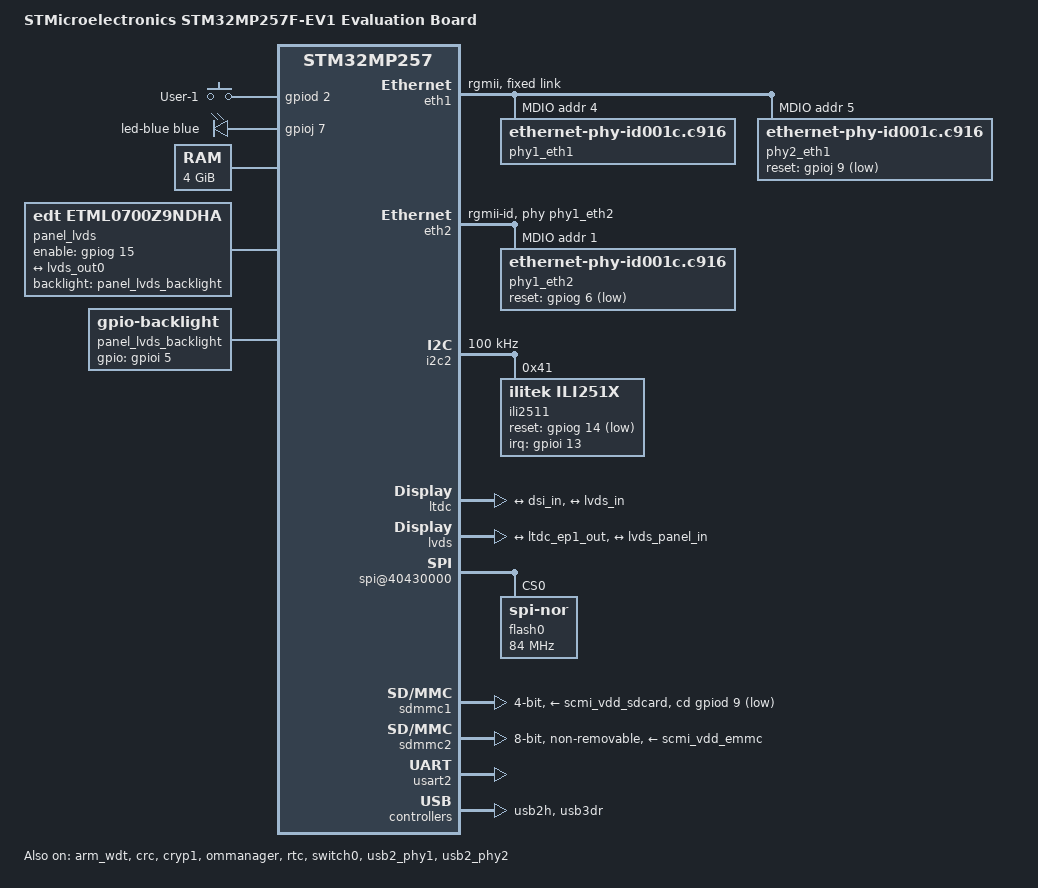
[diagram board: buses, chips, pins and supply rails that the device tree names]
// SPDX-License-Identifier: (GPL-2.0-or-later OR BSD-3-Clause)
/*
 * Copyright (C) STMicroelectronics 2023 - All Rights Reserved
 * Author: Alexandre Torgue <alexandre.torgue@foss.st.com> for STMicroelectronics.
 */

/dts-v1/;

#include <dt-bindings/gpio/gpio.h>
#include <dt-bindings/input/input.h>
#include <dt-bindings/leds/common.h>
#include <dt-bindings/regulator/st,stm32mp25-regulator.h>
#include "stm32mp257.dtsi"
#include "stm32mp25xf.dtsi"
#include "stm32mp25-pinctrl.dtsi"
#include "stm32mp25xxai-pinctrl.dtsi"
#include "stm32mp257f-ev1-ca35tdcid-resmem.dtsi"

/ {
	model = "STMicroelectronics STM32MP257F-EV1 Evaluation Board";
	compatible = "st,stm32mp257f-ev1", "st,stm32mp257";

	aliases {
		ethernet0 = &eth2;
		ethernet1 = &eth1;
		serial0 = &usart2;
		serial1 = &usart6;
	};

	chosen {
		stdout-path = "serial0:115200n8";
		#address-cells = <2>;
		#size-cells = <2>;
		ranges;

		framebuffer {
			compatible = "simple-framebuffer";
			clocks = <&rcc CK_BUS_LTDC>;
			status = "disabled";
		};
	};

	gpio-keys {
		compatible = "gpio-keys";

		button-user-1 {
			label = "User-1";
			linux,code = <BTN_1>;
			gpios = <&gpiod 2 GPIO_ACTIVE_HIGH>;
			status = "okay";
		};
	};

	gpio-leds {
		compatible = "gpio-leds";

		led-blue {
			function = LED_FUNCTION_HEARTBEAT;
			color = <LED_COLOR_ID_BLUE>;
			gpios = <&gpioj 7 GPIO_ACTIVE_HIGH>;
			linux,default-trigger = "heartbeat";
			default-state = "off";
		};
	};

	memory@80000000 {
		device_type = "memory";
		reg = <0x0 0x80000000 0x1 0x0>;
	};

	reserved-memory {
		#address-cells = <2>;
		#size-cells = <2>;
		ranges;

		fw@80000000 {
			compatible = "shared-dma-pool";
			reg = <0x0 0x80000000 0x0 0x4000000>;
			no-map;
		};
	};

	panel_dsi_backlight: panel-dsi-backlight {
		compatible = "gpio-backlight";
		gpios = <&gpioi 5 GPIO_ACTIVE_LOW>;
		default-on;
		default-brightness-level = <0>;
		status = "disabled";
	};

	panel_lvds: panel-lvds {
		compatible = "edt,etml0700z9ndha", "panel-lvds";
		enable-gpios = <&gpiog 15 GPIO_ACTIVE_HIGH>;
		backlight = <&panel_lvds_backlight>;
		status = "okay";

		width-mm = <156>;
		height-mm = <92>;
		data-mapping = "vesa-24";

		panel-timing {
			clock-frequency = <54000000>;
			hactive = <1024>;
			vactive = <600>;
			hfront-porch = <150>;
			hback-porch = <150>;
			hsync-len = <21>;
			vfront-porch = <24>;
			vback-porch = <24>;
			vsync-len = <21>;
		};

		port {
			lvds_panel_in: endpoint {
				remote-endpoint = <&lvds_out0>;
			};
		};
	};

	panel_lvds_backlight: panel-lvds-backlight {
		compatible = "gpio-backlight";
		gpios = <&gpioi 5 GPIO_ACTIVE_HIGH>;
		default-on;
		default-brightness-level = <0>;
		status = "okay";
	};

	sound: sound {
		compatible = "audio-graph-card";
		label = "STM32MP25-EV1";
		dais = <&i2s2_port>;
		status = "disabled";
	};
};

&arm_wdt {
	timeout-sec = <32>;
	status = "okay";
};

&crc {
	status = "okay";
};

&cryp1 {
	status = "okay";
};

&dsi {
	#address-cells = <1>;
	#size-cells = <0>;
	status = "disabled";

	ports {
		#address-cells = <1>;
		#size-cells = <0>;

		port@0 {
			reg = <0>;
			dsi_in: endpoint {
				remote-endpoint = <&ltdc_ep0_out>;
			};
		};

		port@1 {
			reg = <1>;
			dsi_out1: endpoint {
				remote-endpoint = <&adv7535_in>;
			};
		};
	};
};

&eth1 {
	status = "okay";
	pinctrl-0 = <&eth1_mdio_pins_a>;
	pinctrl-names = "default";
	phy-mode = "rgmii";
	max-speed = <1000>;
	st,eth-clk-sel;

	fixed_link: fixed-link {
		speed = <1000>;
		full-duplex;
	};

	mdio1 {
		#address-cells = <1>;
		#size-cells = <0>;
		compatible = "snps,dwmac-mdio";

		phy1_eth1: ethernet-phy@4 {
			compatible = "ethernet-phy-id001c.c916",
				     "ethernet-phy-ieee802.3-c22";
			realtek,eee-disable;
			reg = <4>;
		};

		phy2_eth1: ethernet-phy@5 {
			compatible = "ethernet-phy-id001c.c916",
				     "ethernet-phy-ieee802.3-c22";
			reset-gpios =  <&gpioj 9 GPIO_ACTIVE_LOW>;
			reset-assert-us = <10000>;
			reset-deassert-us = <300>;
			realtek,eee-disable;
			reg = <5>;
		};
	};
};

&eth2 {
	status = "okay";
	pinctrl-0 = <&eth2_rgmii_pins_a>;
	pinctrl-names = "default";
	phy-mode = "rgmii-id";
	max-speed = <1000>;
	phy-handle = <&phy1_eth2>;
	st,eth-ptp-from-rcc;

	mdio1 {
		#address-cells = <1>;
		#size-cells = <0>;
		compatible = "snps,dwmac-mdio";
		phy1_eth2: ethernet-phy@1 {
			compatible = "ethernet-phy-id001c.c916";
			reset-gpios =  <&gpiog 6 GPIO_ACTIVE_LOW>;
			reset-assert-us = <10000>;
			reset-deassert-us = <300>;
			realtek,eee-disable;
			reg = <1>;
		};
	};
};

&hpdma {
	memory-region = <&hpdma1_lli>;
};

&hpdma2 {
	memory-region = <&hpdma2_lli>;
};

&hpdma3 {
	memory-region = <&hpdma3_lli>;
};

&i2c2 {
	pinctrl-names = "default", "sleep";
	pinctrl-0 = <&i2c2_pins_a>;
	pinctrl-1 = <&i2c2_sleep_pins_a>;
	i2c-scl-rising-time-ns = <185>;
	i2c-scl-falling-time-ns = <20>;
	clock-frequency = <100000>;
	status = "okay";
	/* spare dmas for other usage */
	/delete-property/dmas;
	/delete-property/dma-names;

	adv7535: hdmi@3d {
		compatible = "adi,adv7535";
		reg = <0x3d>, <0x3c>, <0x3f>, <0x38>;
		reg-names = "main", "cec", "edid", "packet";
		status = "disabled";
		adi,dsi-lanes = <4>;
		reset-gpios = <&gpiog 14 GPIO_ACTIVE_LOW>;
		avdd-supply = <&scmi_v3v3>;
		dvdd-supply = <&scmi_v3v3>;
		pvdd-supply = <&scmi_v3v3>;
		a2vdd-supply = <&scmi_v3v3>;
		v3p3-supply = <&scmi_v3v3>;
		v1p2-supply = <&scmi_v3v3>;

		ports {
			#address-cells = <1>;
			#size-cells = <0>;

			port@0 {
				reg = <0>;
				adv7535_in: endpoint {
					remote-endpoint = <&dsi_out1>;
				};
			};

			port@2 {
				reg = <2>;
				adv7535_tx_endpoint: endpoint {
					remote-endpoint = <&i2s2_endpoint>;
				};
			};
		};
	};

	ili2511: ili2511@41 {
		compatible = "ilitek,ili251x";
		reg = <0x41>;
		interrupt-parent = <&gpioi>;
		interrupts = <13 IRQ_TYPE_EDGE_FALLING>;
		reset-gpios = <&gpiog 14 GPIO_ACTIVE_LOW>;
		status = "okay";
	};
};

&i2s2 {
	pinctrl-names = "default", "sleep";
	pinctrl-0 = <&i2s2_pins_a>;
	pinctrl-1 = <&i2s2_sleep_pins_a>;
	status = "disabled";

	i2s2_port: port {
		i2s2_endpoint: endpoint {
			remote-endpoint = <&adv7535_tx_endpoint>;
			format = "i2s";
			mclk-fs = <256>;
		};
	};
};

&ltdc {
	status = "okay";

	port {
		#address-cells = <1>;
		#size-cells = <0>;

		ltdc_ep0_out: endpoint@0 {
			reg = <0>;
			remote-endpoint = <&dsi_in>;
		};

		ltdc_ep1_out: endpoint@1 {
			reg = <1>;
			remote-endpoint = <&lvds_in>;
		};
	};
};

&lvds {
	status = "okay";

	ports {
		#address-cells = <1>;
		#size-cells = <0>;

		port@0 {
			reg = <0>;
			lvds_in: endpoint {
				remote-endpoint = <&ltdc_ep1_out>;
			};
		};

		port@1 {
			reg = <1>;
			lvds_out0: endpoint {
				remote-endpoint = <&lvds_panel_in>;
			};
		};
	};
};

&ommanager {
	memory-region = <&mm_ospi1>;
	memory-region-names = "mm_ospi1";
	pinctrl-names = "default", "sleep";
	pinctrl-0 = <&ospi1_clk_pins_a
		     &ospi1_io03_pins_a
		     &ospi1_cs0_pins_a>;

	pinctrl-1 = <&ospi1_clk_sleep_pins_a
		     &ospi1_io03_sleep_pins_a
		     &ospi1_cs0_sleep_pins_a>;

	status = "okay";

	spi@40430000 {
		#address-cells = <1>;
		#size-cells = <0>;
		memory-region = <&mm_ospi1>;
		status = "okay";

		flash0: flash@0 {
			compatible = "jedec,spi-nor";
			reg = <0>;
			spi-rx-bus-width = <4>;
			spi-tx-bus-width = <4>;
			spi-max-frequency = <84000000>;
		};
	};
};

&rtc {
	status = "okay";
};

&scmi_regu {
	scmi_v3v3: voltd-v3v3 {
		reg = <VOLTD_SCMI_STPMIC2_BUCK7>;
		regulator-name = "v3v3";
	};
	scmi_vdd_emmc: voltd-vdd-emmc {
		reg = <VOLTD_SCMI_STPMIC2_LDO2>;
		regulator-name = "vdd_emmc";
	};
	scmi_vdd_sdcard: voltd-vdd-sdcard {
		reg = <VOLTD_SCMI_STPMIC2_LDO7>;
		regulator-name = "vdd_sdcard";
	};
	scmi_vddio1: voltd-vddio1 {
		regulator-min-microvolt = <1800000>;
		regulator-max-microvolt = <3300000>;
	};
};

&sdmmc1 {
	pinctrl-names = "default", "opendrain", "sleep";
	pinctrl-0 = <&sdmmc1_b4_pins_a>;
	pinctrl-1 = <&sdmmc1_b4_od_pins_a>;
	pinctrl-2 = <&sdmmc1_b4_sleep_pins_a>;
	cd-gpios = <&gpiod 9 (GPIO_ACTIVE_LOW | GPIO_PULL_UP)>;
	disable-wp;
	st,neg-edge;
	bus-width = <4>;
	vmmc-supply = <&scmi_vdd_sdcard>;
	vqmmc-supply = <&scmi_vddio1>;
	sd-uhs-sdr12;
	sd-uhs-sdr25;
	sd-uhs-sdr50;
	sd-uhs-ddr50;
	sd-uhs-sdr104;
	status = "okay";
};

&sdmmc2 {
	pinctrl-names = "default", "opendrain", "sleep";
	pinctrl-0 = <&sdmmc2_b4_pins_a &sdmmc2_d47_pins_a>;
	pinctrl-1 = <&sdmmc2_b4_od_pins_a &sdmmc2_d47_pins_a>;
	pinctrl-2 = <&sdmmc2_b4_sleep_pins_a &sdmmc2_d47_sleep_pins_a>;
	non-removable;
	no-sd;
	no-sdio;
	st,neg-edge;
	bus-width = <8>;
	vmmc-supply = <&scmi_vdd_emmc>;
	vqmmc-supply = <&scmi_vddio2>;
	mmc-ddr-1_8v;
	mmc-hs200-1_8v;
	status = "okay";
};

&sdmmc3 {
	pinctrl-names = "default", "opendrain", "sleep";
	pinctrl-0 = <&sdmmc3_b4_pins_a>;
	pinctrl-1 = <&sdmmc3_b4_od_pins_a>;
	pinctrl-2 = <&sdmmc3_b4_sleep_pins_a>;
	broken-cd;
	disable-wp;
	st,neg-edge;
	bus-width = <4>;
	vmmc-supply = <&scmi_v3v3>;
	status = "disabled";
};

&spi3 {
	pinctrl-names = "default", "sleep";
	pinctrl-0 = <&spi3_pins_a>;
	pinctrl-1 = <&spi3_sleep_pins_a>;
	status = "disabled";
};

&spi8 {
	pinctrl-names = "default", "sleep";
	pinctrl-0 = <&spi8_pins_a>;
	pinctrl-1 = <&spi8_sleep_pins_a>;
	status = "disabled";
};

&switch0 {
	status = "okay";
	pinctrl-0 = <&eth1_rgmii_pins_a>, <&eth3_rgmii_pins_a>;
	pinctrl-names = "default";
	phy-mode = "rgmii";
	st,ethsw-internal-125;
};

&usart2 {
	pinctrl-names = "default", "idle", "sleep";
	pinctrl-0 = <&usart2_pins_a>;
	pinctrl-1 = <&usart2_idle_pins_a>;
	pinctrl-2 = <&usart2_sleep_pins_a>;
	/delete-property/dmas;
	/delete-property/dma-names;
	status = "okay";
};

&usart6 {
	pinctrl-names = "default", "idle", "sleep";
	pinctrl-0 = <&usart6_pins_a>;
	pinctrl-1 = <&usart6_idle_pins_a>;
	pinctrl-2 = <&usart6_sleep_pins_a>;
	uart-has-rtscts;
	status = "disabled";
};

&usb2_phy1 {
	status = "okay";
};

&usb2_phy2 {
	status = "okay";
};

&usb2h {
	status = "okay";

	usb2h_ohci: usb@482e0000 {
		status = "disabled";
	};
};

&usb3dr {
	status = "okay";

	dwc3: usb@48300000 {
		maximum-speed = "high-speed";
		dr_mode = "peripheral";
	};
};
